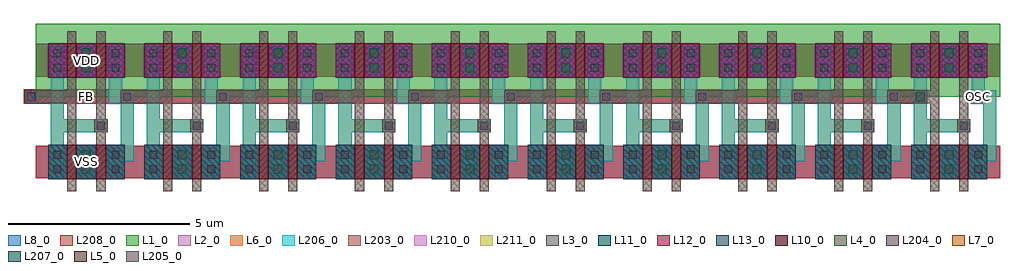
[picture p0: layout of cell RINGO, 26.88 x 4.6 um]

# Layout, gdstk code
import gdstk
lib = gdstk.Library(unit=1e-6, precision=1e-09)
def R(c, l, rs):  # rectangles x0, y0, x1, y1
    for r in rs: c.add(gdstk.rectangle(r[:2], r[2:], *l))
def P(c, l, *ps):  # polygons
    for p in ps: c.add(gdstk.Polygon(p, *l))
L1_0 = (1, 0)
L2_0 = (2, 0)
L3_0 = (3, 0)
L4_0 = (4, 0)
L5_0 = (5, 0)
L6_0 = (6, 0)
L7_0 = (7, 0)
L8_0 = (8, 0)
L10_0 = (10, 0)
L11_0 = (11, 0)
L12_0 = (12, 0)
L13_0 = (13, 0)
L203_0 = (203, 0)
L204_0 = (204, 0)
L205_0 = (205, 0)
L206_0 = (206, 0)
L207_0 = (207, 0)
L208_0 = (208, 0)
L210_0 = (210, 0)
L211_0 = (211, 0)

net_trans__1 = lib.new_cell('NET_TRANS_$1')
R(net_trans__1, L204_0, [(-0.51,-0.31,-0.29,-0.09), (-0.51,0.09,-0.29,0.31)])
R(net_trans__1, L206_0, [(-0.58,-0.38,-0.22,0.38)])

net_trans__2 = lib.new_cell('NET_TRANS_$2')
R(net_trans__2, L204_0, [(0.29,-0.31,0.51,-0.09), (0.29,0.09,0.51,0.31)])
R(net_trans__2, L206_0, [(0.22,-0.38,0.58,0.38)])

net_trans__3 = lib.new_cell('NET_TRANS_$3')
R(net_trans__3, L203_0, [(-0.125,-0.8,0.125,0.8)])

trans = lib.new_cell('TRANS')
R(trans, L2_0, [(-0.65,-0.475,0.65,0.475)])
R(trans, L4_0, [(-0.51,-0.31,-0.29,-0.09), (0.29,-0.31,0.51,-0.09), (-0.51,0.09,-0.29,0.31), (0.29,0.09,0.51,0.31)])
R(trans, L6_0, [(-0.58,-0.38,-0.22,0.38), (0.22,-0.38,0.58,0.38)])
trans.add(gdstk.FlexPath([(0,-0.8),(0,0.8)], 0.25, ends="flush", simple_path=True, layer=3, datatype=0))  # L3_0
trans.add(gdstk.Reference(net_trans__1, (0,0)))
trans.add(gdstk.Reference(net_trans__2, (0,0)))
trans.add(gdstk.Reference(net_trans__3, (0,0)))

net_inv2_in = lib.new_cell('NET_INV2_IN')
R(net_inv2_in, L203_0, [(-0.525,-0.25,-0.275,2.25), (-1.7,1.62,-0.4,1.98)])
R(net_inv2_in, L205_0, [(-1.63,1.69,-1.41,1.91)])
net_inv2_in.add(gdstk.Label('IN', (-0.8,1.8), layer=203, texttype=1))

net_inv2__2 = lib.new_cell('NET_INV2_$2')
R(net_inv2__2, L203_0, [(0.275,-0.25,0.525,2.25), (0.22,0.82,0.58,1.18)])
R(net_inv2__2, L205_0, [(0.29,0.89,0.51,1.11)])
R(net_inv2__2, L206_0, [(-0.98,-0.42,-0.62,2.42), (-0.8,0.82,0.58,1.18)])
R(net_inv2__2, L210_0, [(-1.05,2.325,-0.525,3.275)])
R(net_inv2__2, L211_0, [(-1.05,-0.475,-0.525,0.475)])

net_inv2_out = lib.new_cell('NET_INV2_OUT')
P(net_inv2_out, L206_0, [(0.8,0.02),(0.8,0.38),(0.94,0.38),(0.94,1.62),(0.62,1.62),(0.62,2.42),(0.98,2.42),(0.98,1.98),(1.3,1.98),(1.3,0.02)])
R(net_inv2_out, L210_0, [(0.525,2.325,1.05,3.275)])
R(net_inv2_out, L211_0, [(0.525,-0.475,1.05,0.475)])
net_inv2_out.add(gdstk.Label('OUT', (0.8,1.8), layer=206, texttype=1))

net_inv2__4 = lib.new_cell('NET_INV2_$4')
R(net_inv2__4, L207_0, [(-0.125,-0.325,0.125,-0.075), (-0.125,0.075,0.125,0.325)])
R(net_inv2__4, L208_0, [(-1.4,-0.45,1.4,0.45)])
R(net_inv2__4, L211_0, [(-0.275,-0.475,0.275,0.475)])

net_inv2__5 = lib.new_cell('NET_INV2_$5')
R(net_inv2__5, L207_0, [(-0.125,2.475,0.125,2.725), (-0.125,2.875,0.125,3.125)])
R(net_inv2__5, L208_0, [(-1.4,2.35,1.4,3.25)])
R(net_inv2__5, L210_0, [(-0.275,2.325,0.275,3.275)])

d_pmos = lib.new_cell('D$PMOS')
R(d_pmos, L203_0, [(-0.125,-0.475,0.125,0.475)])
R(d_pmos, L210_0, [(-0.65,-0.475,-0.125,0.475), (0.125,-0.475,0.675,0.475)])

d_pmos_1 = lib.new_cell('D$PMOS$1')
R(d_pmos_1, L203_0, [(-0.125,-0.475,0.125,0.475)])
R(d_pmos_1, L210_0, [(-0.675,-0.475,-0.125,0.475), (0.125,-0.475,0.65,0.475)])

d_nmos = lib.new_cell('D$NMOS')
R(d_nmos, L203_0, [(-0.125,-0.475,0.125,0.475)])
R(d_nmos, L211_0, [(-0.65,-0.475,-0.125,0.475), (0.125,-0.475,0.675,0.475)])

d_nmos_1 = lib.new_cell('D$NMOS$1')
R(d_nmos_1, L203_0, [(-0.125,-0.475,0.125,0.475)])
R(d_nmos_1, L211_0, [(-0.675,-0.475,-0.125,0.475), (0.125,-0.475,0.65,0.475)])

inv2 = lib.new_cell('INV2')
R(inv2, L1_0, [(-1.4,1.8,1.4,3.8)])
R(inv2, L3_0, [(-0.525,-0.25,-0.275,2.25), (0.275,-0.25,0.525,2.25), (0.22,0.82,0.58,1.18), (-1.7,1.62,-0.4,1.98)])
R(inv2, L5_0, [(0.29,0.89,0.51,1.11), (-1.63,1.69,-1.41,1.91)])
R(inv2, L6_0, [(-0.98,-0.42,-0.62,2.42), (-0.8,0.82,0.58,1.18)])
R(inv2, L7_0, [(-0.125,-0.325,0.125,-0.075), (-0.125,0.075,0.125,0.325), (-0.125,2.475,0.125,2.725), (-0.125,2.875,0.125,3.125)])
R(inv2, L8_0, [(-1.4,-0.45,1.4,0.45), (-1.4,2.35,1.4,3.25)])
R(inv2, L10_0, [(-0.525,-0.475,-0.275,0.475), (0.275,-0.475,0.525,0.475), (-0.525,2.325,-0.275,3.275), (0.275,2.325,0.525,3.275)])
R(inv2, L11_0, [(-1.05,-0.475,-0.525,0.475), (-0.275,-0.475,0.275,0.475), (0.525,-0.475,1.05,0.475), (-1.05,2.325,-0.525,3.275), (-0.275,2.325,0.275,3.275), (0.525,2.325,1.05,3.275)])
R(inv2, L12_0, [(-1.05,2.325,-0.525,3.275), (-0.275,2.325,0.275,3.275), (0.525,2.325,1.05,3.275)])
R(inv2, L13_0, [(-1.05,-0.475,-0.525,0.475), (-0.275,-0.475,0.275,0.475), (0.525,-0.475,1.05,0.475)])
inv2.add(gdstk.FlexPath([(0.8,0.2),(1.12,0.2),(1.12,1.8),(0.8,1.8),(0.8,2.42)], 0.36, ends="flush", simple_path=True, layer=6, datatype=0))  # L6_0
inv2.add(gdstk.Reference(trans, (-0.4,0)))
inv2.add(gdstk.Reference(trans, (-0.4,2.8)))
inv2.add(gdstk.Reference(trans, (0.4,0), x_reflection=True))
inv2.add(gdstk.Reference(trans, (0.4,2.8), x_reflection=True))
inv2.add(gdstk.Reference(net_inv2_in, (0,0)))
inv2.add(gdstk.Reference(net_inv2__2, (0,0)))
inv2.add(gdstk.Reference(net_inv2_out, (0,0)))
inv2.add(gdstk.Reference(net_inv2__4, (0,0)))
inv2.add(gdstk.Reference(net_inv2__5, (0,0)))
inv2.add(gdstk.Reference(d_pmos, (-0.4,2.8)))
inv2.add(gdstk.Reference(d_pmos_1, (0.4,2.8)))
inv2.add(gdstk.Reference(d_nmos, (-0.4,0)))
inv2.add(gdstk.Reference(d_nmos_1, (0.4,0)))
inv2.add(gdstk.Label('IN', (-0.8,1.8), layer=3, texttype=1))
inv2.add(gdstk.Label('OUT', (0.8,1.8), layer=6, texttype=1))

net_ringo_fb = lib.new_cell('NET_RINGO_FB')
R(net_ringo_fb, L206_0, [(-1.7,1.62,-1.34,1.98)])
R(net_ringo_fb, L207_0, [(-1.645,1.675,-1.395,1.925), (22.835,1.675,23.085,1.925)])
R(net_ringo_fb, L208_0, [(-1.72,1.6,23.16,2)])
net_ringo_fb.add(gdstk.Label('FB', (0,1.8), layer=208, texttype=1))

net_ringo_osc = lib.new_cell('NET_RINGO_OSC')
R(net_ringo_osc, L207_0, [(24.435,1.675,24.685,1.925)])
R(net_ringo_osc, L208_0, [(24.36,1.6,24.76,2)])
net_ringo_osc.add(gdstk.Label('OSC', (24.56,1.8), layer=208, texttype=1))

net_ringo_vss = lib.new_cell('NET_RINGO_VSS')
net_ringo_vss.add(gdstk.Label('VSS', (0,0), layer=208, texttype=1))

net_ringo_vdd = lib.new_cell('NET_RINGO_VDD')
net_ringo_vdd.add(gdstk.Label('VDD', (0,2.8), layer=208, texttype=1))

ringo = lib.new_cell('RINGO')
R(ringo, L6_0, [(-1.7,1.62,-1.34,1.98)])
R(ringo, L7_0, [(-1.645,1.675,-1.395,1.925), (22.835,1.675,23.085,1.925), (24.435,1.675,24.685,1.925)])
R(ringo, L8_0, [(-1.72,1.6,23.16,2), (24.36,1.6,24.76,2)])
ringo.add(gdstk.Reference(inv2, (0,0)))
ringo.add(gdstk.Reference(inv2, (2.64,0)))
ringo.add(gdstk.Reference(inv2, (5.28,0)))
ringo.add(gdstk.Reference(inv2, (7.92,0)))
ringo.add(gdstk.Reference(inv2, (10.56,0)))
ringo.add(gdstk.Reference(inv2, (13.2,0)))
ringo.add(gdstk.Reference(inv2, (15.84,0)))
ringo.add(gdstk.Reference(inv2, (18.48,0)))
ringo.add(gdstk.Reference(inv2, (21.12,0)))
ringo.add(gdstk.Reference(inv2, (23.76,0)))
ringo.add(gdstk.Reference(net_ringo_fb, (0,0)))
ringo.add(gdstk.Reference(net_ringo_osc, (0,0)))
ringo.add(gdstk.Reference(net_ringo_vss, (0,0)))
ringo.add(gdstk.Reference(net_ringo_vdd, (0,0)))
ringo.add(gdstk.Label('OSC', (24.56,1.8), layer=8, texttype=1))
ringo.add(gdstk.Label('FB', (0,1.8), layer=8, texttype=1))
ringo.add(gdstk.Label('VSS', (0,0), layer=8, texttype=1))
ringo.add(gdstk.Label('VDD', (0,2.8), layer=8, texttype=1))

lib.write_gds('RINGO.gds')
